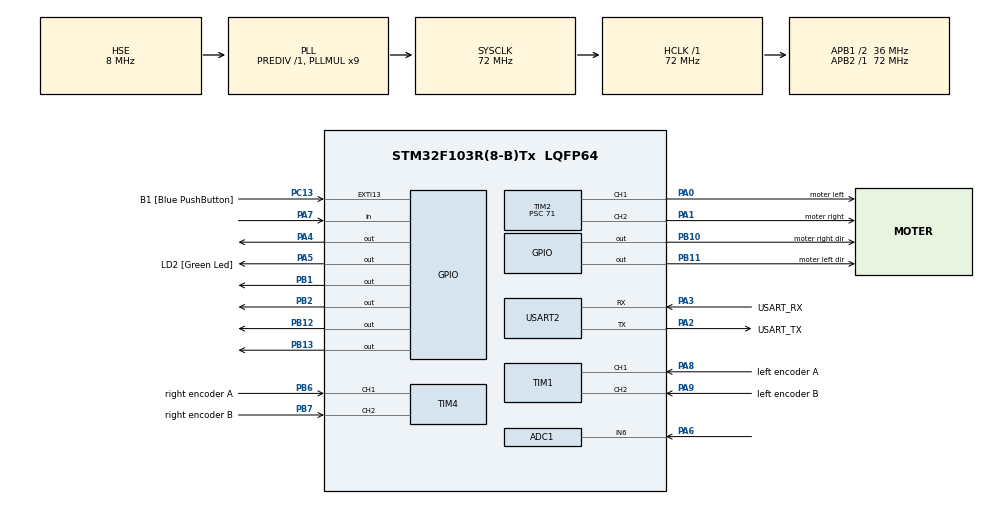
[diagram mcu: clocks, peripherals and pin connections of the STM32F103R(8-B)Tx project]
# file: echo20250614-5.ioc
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ADC1.Channel-5\#ChannelRegularConversion=ADC_CHANNEL_6
ADC1.ContinuousConvMode=ENABLE
ADC1.ExternalTrigConv=ADC_EXTERNALTRIGCONV_T3_TRGO
ADC1.NbrOfConversionFlag=1
ADC1.Rank-5\#ChannelRegularConversion=1
ADC1.SamplingTime-5\#ChannelRegularConversion=ADC_SAMPLETIME_239CYCLES_5
ADC1.master=1
Mcu.Family=STM32F1
Mcu.Name=STM32F103R(8-B)Tx
Mcu.Package=LQFP64
NVIC.ADC1_2_IRQn=true\:0\:0\:false\:false\:true\:true\:true\:true
NVIC.EXTI15_10_IRQn=true\:0\:0\:false\:false\:true\:true\:true\:true
NVIC.PriorityGroup=NVIC_PRIORITYGROUP_4
NVIC.TIM2_IRQn=true\:0\:0\:false\:false\:true\:true\:true\:true
NVIC.TIM3_IRQn=true\:0\:0\:false\:false\:true\:true\:true\:true
NVIC.USART2_IRQn=true\:0\:0\:false\:false\:true\:true\:true\:true
PA0-WKUP.GPIO_Label=moter left
PA0-WKUP.Signal=S_TIM2_CH1_ETR
PA1.GPIO_Label=moter right
PA1.Signal=S_TIM2_CH2
PA13.Mode=JTAG_5_pins
PA13.Signal=SYS_JTMS-SWDIO
PA14.Mode=JTAG_5_pins
PA14.Signal=SYS_JTCK-SWCLK
PA15.Mode=JTAG_5_pins
PA15.Signal=SYS_JTDI
PA2.GPIO_Label=USART_TX
PA2.GPIO_Mode=GPIO_MODE_AF_PP
PA2.GPIO_PuPd=GPIO_NOPULL
PA2.GPIO_Speed=GPIO_SPEED_FREQ_LOW
PA2.Mode=Asynchronous
PA2.Signal=USART2_TX
PA3.GPIO_Label=USART_RX
PA3.GPIO_Mode=GPIO_MODE_AF_PP
PA3.GPIO_PuPd=GPIO_NOPULL
PA3.GPIO_Speed=GPIO_SPEED_FREQ_LOW
PA3.Mode=Asynchronous
PA3.Signal=USART2_RX
PA4.Signal=GPIO_Output
PA5.GPIO_Label=LD2 [Green Led]
PA5.GPIO_ModeDefaultOutputPP=GPIO_MODE_OUTPUT_PP
PA5.GPIO_PuPd=GPIO_NOPULL
PA5.GPIO_Speed=GPIO_SPEED_FREQ_LOW
PA5.Signal=GPIO_Output
PA6.Signal=ADCx_IN6
PA7.Signal=GPIO_Input
PA8.GPIO_Label=left encoder A
PA8.Signal=S_TIM1_CH1
PA9.GPIO_Label=left encoder B
PA9.Signal=S_TIM1_CH2
PB1.Signal=GPIO_Output
PB10.GPIO_Label=moter right dir
PB10.Signal=GPIO_Output
PB11.GPIO_Label=moter left dir
PB11.Signal=GPIO_Output
PB12.Signal=GPIO_Output
PB13.Signal=GPIO_Output
PB2.Signal=GPIO_Output
PB3.Mode=JTAG_5_pins
PB3.Signal=SYS_JTDO-TRACESWO
PB4.Mode=JTAG_5_pins
PB4.Signal=SYS_NJTRST
PB6.GPIO_Label=right encoder A
PB6.Signal=S_TIM4_CH1
PB7.GPIO_Label=right encoder B
PB7.Signal=S_TIM4_CH2
PC13-TAMPER-RTC.GPIO_Label=B1 [Blue PushButton]
PC13-TAMPER-RTC.GPIO_PuPd=GPIO_NOPULL
PC13-TAMPER-RTC.Signal=GPXTI13
PC14-OSC32_IN.Mode=LSE-External-Oscillator
PC14-OSC32_IN.Signal=RCC_OSC32_IN
PC15-OSC32_OUT.Mode=LSE-External-Oscillator
PC15-OSC32_OUT.Signal=RCC_OSC32_OUT
PD0-OSC_IN.Mode=HSE-External-Clock-Source
PD0-OSC_IN.Signal=RCC_OSC_IN
PD1-OSC_OUT.Mode=HSE-External-Clock-Source
PD1-OSC_OUT.Signal=RCC_OSC_OUT
ProjectManager.HeapSize=0x200
ProjectManager.StackSize=0x400
ProjectManager.TargetToolchain=STM32CubeIDE
RCC.ADCPresc=RCC_ADCPCLK2_DIV6
RCC.AHBFreq_Value=72000000
RCC.APB1CLKDivider=RCC_HCLK_DIV2
RCC.APB1Freq_Value=36000000
RCC.APB1TimFreq_Value=72000000
RCC.APB2Freq_Value=72000000
RCC.APB2TimFreq_Value=72000000
RCC.HCLKFreq_Value=72000000
RCC.PLLMUL=RCC_PLL_MUL9
RCC.PLLSourceVirtual=RCC_PLLSOURCE_HSE
RCC.RTCClockSelection=RCC_RTCCLKSOURCE_LSE
RCC.SYSCLKFreq_VALUE=72000000
RCC.SYSCLKSource=RCC_SYSCLKSOURCE_PLLCLK
RCC.USBFreq_Value=72000000
SH.ADCx_IN6.0=ADC1_IN6,IN6
SH.S_TIM1_CH1.0=TIM1_CH1,Encoder_Interface
SH.S_TIM1_CH2.0=TIM1_CH2,Encoder_Interface
SH.S_TIM2_CH1_ETR.0=TIM2_CH1,PWM Generation1 CH1
SH.S_TIM2_CH2.0=TIM2_CH2,PWM Generation2 CH2
SH.S_TIM4_CH1.0=TIM4_CH1,Encoder_Interface
SH.S_TIM4_CH2.0=TIM4_CH2,Encoder_Interface
TIM1.EncoderMode=TIM_ENCODERMODE_TI12
TIM2.Channel-PWM\ Generation1\ CH1=TIM_CHANNEL_1
TIM2.Channel-PWM\ Generation2\ CH2=TIM_CHANNEL_2
TIM2.Period=49
TIM2.Prescaler=71
TIM3.Period=499
TIM3.Prescaler=7199
TIM4.EncoderMode=TIM_ENCODERMODE_TI12
USART2.VirtualMode=VM_ASYNC
VP_TIM3_VS_ClockSourceINT.Mode=Internal
board=NUCLEO-F103RB

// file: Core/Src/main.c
/* USER CODE BEGIN Header */
/**
  ******************************************************************************
  * @file           : main.c
  * @brief          : Main program body
  ******************************************************************************
  * @attention
  *
  * Copyright (c) 2025 STMicroelectronics.
  * All rights reserved.
  *
  * This software is licensed under terms that can be found in the LICENSE file
  * in the root directory of this software component.
  * If no LICENSE file comes with this software, it is provided AS-IS.
  *
  ******************************************************************************
  */
/* USER CODE END Header */
#include "main.h"
#include "motor.h"
#include "encoder.h"
#include "uart.h"
#include "uart_printf.h"

/* USER CODE BEGIN PD */

#define IR_THRESHOLD 4000
#define PPR 32700
/* USER CODE END PD */

ADC_HandleTypeDef hadc1;

TIM_HandleTypeDef htim1;
TIM_HandleTypeDef htim2;
TIM_HandleTypeDef htim3;
TIM_HandleTypeDef htim4;

void SystemClock_Config(void);
static void MX_GPIO_Init(void);
static void MX_USART2_UART_Init(void);
static void MX_TIM2_Init(void);
static void MX_ADC1_Init(void);
static void MX_TIM3_Init(void);
static void MX_TIM4_Init(void);
static void MX_TIM1_Init(void);

/* USER CODE BEGIN 0 */

//적외선 센서 감지 인터럽트
void HAL_ADC_ConvCpltCallback(ADC_HandleTypeDef* hadc)
{
    if(hadc->Instance == ADC1)
    {
        uint32_t adc_value = HAL_ADC_GetValue(hadc);
        if(adc_value < IR_THRESHOLD){
        	Motor_StopAll();
        }
    }
}

// TIM4,1 인터럽트 핸들러
void TIM4_IRQHandler(void)
{
    HAL_TIM_IRQHandler(&htim4);
}

void TIM1_IRQHandler(void)
{
    HAL_TIM_IRQHandler(&htim1);
}
// HAL 콜백 함수 (Update Event 등 처리)
void HAL_TIM_PeriodElapsedCallback(TIM_HandleTypeDef *htim)
{
	if(htim->Instance == TIM3)  // TIM3 = 1ms 주기 타이머
		{
			Motor_UpdateAllPWM();   // 모터 점진 제어
			Encoder_Update(&encoder1);
	        Encoder_Update(&encoder4);
	        Encoder_SendTotalCount();
	}
}

/* USER CODE END 0 */

int main(void)
{

  /* MCU Configuration--------------------------------------------------------*/

  /* Reset of all peripherals, Initializes the Flash interface and the Systick. */
  HAL_Init();

  /* Configure the system clock */
  SystemClock_Config();

  /* Initialize all configured peripherals */
  MX_GPIO_Init();
  MX_USART2_UART_Init();
  MX_TIM2_Init();
  MX_ADC1_Init();
  MX_TIM3_Init();
  MX_TIM4_Init();
  MX_TIM1_Init();
  /* USER CODE BEGIN 2 */
  // 왼쪽, 오른쪽 모터 PWM 채널 시작
  HAL_TIM_PWM_Start(&htim2, TIM_CHANNEL_1);  // Left Motor PWM
  HAL_TIM_PWM_Start(&htim2, TIM_CHANNEL_2);  // Right Motor PWM
  HAL_TIM_Encoder_Start(&htim1, TIM_CHANNEL_ALL);
  HAL_TIM_Encoder_Start(&htim4, TIM_CHANNEL_ALL);

  // UART 수신 인터럽트 시작 (1바이트씩 수신)
  HAL_UART_Receive_IT(&huart2, &rx_data, 1); // UART Receive 1 byte
  HAL_ADC_Start_IT(&hadc1);
  // TIM3 시작 필요
  HAL_TIM_Base_Start_IT(&htim3); // 인터럽트 모드로 시작

  // 초기 PWM 값을 0으로 설정
  __HAL_TIM_SET_COMPARE(&htim2, TIM_CHANNEL_1, 0);
  __HAL_TIM_SET_COMPARE(&htim2, TIM_CHANNEL_2, 0);

  /* USER CODE END 2 */

  /* Infinite loop */
  while (1)
  {

  }
}

void SystemClock_Config(void)
{
  RCC_OscInitTypeDef RCC_OscInitStruct = {0};
  RCC_ClkInitTypeDef RCC_ClkInitStruct = {0};
  RCC_PeriphCLKInitTypeDef PeriphClkInit = {0};

  /** Initializes the RCC Oscillators according to the specified parameters
  * in the RCC_OscInitTypeDef structure.
  */
  RCC_OscInitStruct.OscillatorType = RCC_OSCILLATORTYPE_HSE;
  RCC_OscInitStruct.HSEState = RCC_HSE_BYPASS;
  RCC_OscInitStruct.HSEPredivValue = RCC_HSE_PREDIV_DIV1;
  RCC_OscInitStruct.HSIState = RCC_HSI_ON;
  RCC_OscInitStruct.PLL.PLLState = RCC_PLL_ON;
  RCC_OscInitStruct.PLL.PLLSource = RCC_PLLSOURCE_HSE;
  RCC_OscInitStruct.PLL.PLLMUL = RCC_PLL_MUL9;
  if (HAL_RCC_OscConfig(&RCC_OscInitStruct) != HAL_OK)
  {
    Error_Handler();
  }

  /** Initializes the CPU, AHB and APB buses clocks
  */
  RCC_ClkInitStruct.ClockType = RCC_CLOCKTYPE_HCLK|RCC_CLOCKTYPE_SYSCLK
                              |RCC_CLOCKTYPE_PCLK1|RCC_CLOCKTYPE_PCLK2;
  RCC_ClkInitStruct.SYSCLKSource = RCC_SYSCLKSOURCE_PLLCLK;
  RCC_ClkInitStruct.AHBCLKDivider = RCC_SYSCLK_DIV1;
  RCC_ClkInitStruct.APB1CLKDivider = RCC_HCLK_DIV2;
  RCC_ClkInitStruct.APB2CLKDivider = RCC_HCLK_DIV1;

  if (HAL_RCC_ClockConfig(&RCC_ClkInitStruct, FLASH_LATENCY_2) != HAL_OK)
  {
    Error_Handler();
  }
  PeriphClkInit.PeriphClockSelection = RCC_PERIPHCLK_ADC;
  PeriphClkInit.AdcClockSelection = RCC_ADCPCLK2_DIV6;
  if (HAL_RCCEx_PeriphCLKConfig(&PeriphClkInit) != HAL_OK)
  {
    Error_Handler();
  }
}

static void MX_ADC1_Init(void)
{

  ADC_ChannelConfTypeDef sConfig = {0};

  /** Common config
  */
  hadc1.Instance = ADC1;
  hadc1.Init.ScanConvMode = ADC_SCAN_DISABLE;
  hadc1.Init.ContinuousConvMode = ENABLE;
  hadc1.Init.DiscontinuousConvMode = DISABLE;
  hadc1.Init.ExternalTrigConv = ADC_EXTERNALTRIGCONV_T3_TRGO;
  hadc1.Init.DataAlign = ADC_DATAALIGN_RIGHT;
  hadc1.Init.NbrOfConversion = 1;
  if (HAL_ADC_Init(&hadc1) != HAL_OK)
  {
    Error_Handler();
  }

  /** Configure Regular Channel
  */
  sConfig.Channel = ADC_CHANNEL_6;
  sConfig.Rank = ADC_REGULAR_RANK_1;
  sConfig.SamplingTime = ADC_SAMPLETIME_239CYCLES_5;
  if (HAL_ADC_ConfigChannel(&hadc1, &sConfig) != HAL_OK)
  {
    Error_Handler();
  }

}

static void MX_TIM1_Init(void)
{

  TIM_Encoder_InitTypeDef sConfig = {0};
  TIM_MasterConfigTypeDef sMasterConfig = {0};

  htim1.Instance = TIM1;
  htim1.Init.Prescaler = 0;
  htim1.Init.CounterMode = TIM_COUNTERMODE_UP;
  htim1.Init.Period = 65535;
  htim1.Init.ClockDivision = TIM_CLOCKDIVISION_DIV1;
  htim1.Init.RepetitionCounter = 0;
  htim1.Init.AutoReloadPreload = TIM_AUTORELOAD_PRELOAD_DISABLE;
  sConfig.EncoderMode = TIM_ENCODERMODE_TI12;
  sConfig.IC1Polarity = TIM_ICPOLARITY_RISING;
  sConfig.IC1Selection = TIM_ICSELECTION_DIRECTTI;
  sConfig.IC1Prescaler = TIM_ICPSC_DIV1;
  sConfig.IC1Filter = 0;
  sConfig.IC2Polarity = TIM_ICPOLARITY_RISING;
  sConfig.IC2Selection = TIM_ICSELECTION_DIRECTTI;
  sConfig.IC2Prescaler = TIM_ICPSC_DIV1;
  sConfig.IC2Filter = 0;
  if (HAL_TIM_Encoder_Init(&htim1, &sConfig) != HAL_OK)
  {
    Error_Handler();
  }
  sMasterConfig.MasterOutputTrigger = TIM_TRGO_RESET;
  sMasterConfig.MasterSlaveMode = TIM_MASTERSLAVEMODE_DISABLE;
  if (HAL_TIMEx_MasterConfigSynchronization(&htim1, &sMasterConfig) != HAL_OK)
  {
    Error_Handler();
  }

}

static void MX_TIM2_Init(void)
{

  TIM_MasterConfigTypeDef sMasterConfig = {0};
  TIM_OC_InitTypeDef sConfigOC = {0};

  htim2.Instance = TIM2;
  htim2.Init.Prescaler = 71;
  htim2.Init.CounterMode = TIM_COUNTERMODE_UP;
  htim2.Init.Period = 49;
  htim2.Init.ClockDivision = TIM_CLOCKDIVISION_DIV1;
  htim2.Init.AutoReloadPreload = TIM_AUTORELOAD_PRELOAD_DISABLE;
  if (HAL_TIM_PWM_Init(&htim2) != HAL_OK)
  {
    Error_Handler();
  }
  sMasterConfig.MasterOutputTrigger = TIM_TRGO_RESET;
  sMasterConfig.MasterSlaveMode = TIM_MASTERSLAVEMODE_DISABLE;
  if (HAL_TIMEx_MasterConfigSynchronization(&htim2, &sMasterConfig) != HAL_OK)
  {
    Error_Handler();
  }
  sConfigOC.OCMode = TIM_OCMODE_PWM1;
  sConfigOC.Pulse = 0;
  sConfigOC.OCPolarity = TIM_OCPOLARITY_HIGH;
  sConfigOC.OCFastMode = TIM_OCFAST_DISABLE;
  if (HAL_TIM_PWM_ConfigChannel(&htim2, &sConfigOC, TIM_CHANNEL_1) != HAL_OK)
  {
    Error_Handler();
  }
  if (HAL_TIM_PWM_ConfigChannel(&htim2, &sConfigOC, TIM_CHANNEL_2) != HAL_OK)
  {
    Error_Handler();
  }
  HAL_TIM_MspPostInit(&htim2);

}

static void MX_TIM3_Init(void)
{

  TIM_ClockConfigTypeDef sClockSourceConfig = {0};
  TIM_MasterConfigTypeDef sMasterConfig = {0};

  htim3.Instance = TIM3;
  htim3.Init.Prescaler = 7199;
  htim3.Init.CounterMode = TIM_COUNTERMODE_UP;
  htim3.Init.Period = 499;
  htim3.Init.ClockDivision = TIM_CLOCKDIVISION_DIV1;
  htim3.Init.AutoReloadPreload = TIM_AUTORELOAD_PRELOAD_DISABLE;
  if (HAL_TIM_Base_Init(&htim3) != HAL_OK)
  {
    Error_Handler();
  }
  sClockSourceConfig.ClockSource = TIM_CLOCKSOURCE_INTERNAL;
  if (HAL_TIM_ConfigClockSource(&htim3, &sClockSourceConfig) != HAL_OK)
  {
    Error_Handler();
  }
  sMasterConfig.MasterOutputTrigger = TIM_TRGO_RESET;
  sMasterConfig.MasterSlaveMode = TIM_MASTERSLAVEMODE_DISABLE;
  if (HAL_TIMEx_MasterConfigSynchronization(&htim3, &sMasterConfig) != HAL_OK)
  {
    Error_Handler();
  }

}

static void MX_TIM4_Init(void)
{

  TIM_Encoder_InitTypeDef sConfig = {0};
  TIM_MasterConfigTypeDef sMasterConfig = {0};

  htim4.Instance = TIM4;
  htim4.Init.Prescaler = 0;
  htim4.Init.CounterMode = TIM_COUNTERMODE_UP;
  htim4.Init.Period = 65535;
  htim4.Init.ClockDivision = TIM_CLOCKDIVISION_DIV1;
  htim4.Init.AutoReloadPreload = TIM_AUTORELOAD_PRELOAD_DISABLE;
  sConfig.EncoderMode = TIM_ENCODERMODE_TI12;
  sConfig.IC1Polarity = TIM_ICPOLARITY_RISING;
  sConfig.IC1Selection = TIM_ICSELECTION_DIRECTTI;
  sConfig.IC1Prescaler = TIM_ICPSC_DIV1;
  sConfig.IC1Filter = 0;
  sConfig.IC2Polarity = TIM_ICPOLARITY_RISING;
  sConfig.IC2Selection = TIM_ICSELECTION_DIRECTTI;
  sConfig.IC2Prescaler = TIM_ICPSC_DIV1;
  sConfig.IC2Filter = 0;
  if (HAL_TIM_Encoder_Init(&htim4, &sConfig) != HAL_OK)
  {
    Error_Handler();
  }
  sMasterConfig.MasterOutputTrigger = TIM_TRGO_RESET;
  sMasterConfig.MasterSlaveMode = TIM_MASTERSLAVEMODE_DISABLE;
  if (HAL_TIMEx_MasterConfigSynchronization(&htim4, &sMasterConfig) != HAL_OK)
  {
    Error_Handler();
  }

}

static void MX_USART2_UART_Init(void)
{

  huart2.Instance = USART2;
  huart2.Init.BaudRate = 115200;
  huart2.Init.WordLength = UART_WORDLENGTH_8B;
  huart2.Init.StopBits = UART_STOPBITS_1;
  huart2.Init.Parity = UART_PARITY_NONE;
  huart2.Init.Mode = UART_MODE_TX_RX;
  huart2.Init.HwFlowCtl = UART_HWCONTROL_NONE;
  huart2.Init.OverSampling = UART_OVERSAMPLING_16;
  if (HAL_UART_Init(&huart2) != HAL_OK)
  {
    Error_Handler();
  }

}

static void MX_GPIO_Init(void)
{
  GPIO_InitTypeDef GPIO_InitStruct = {0};

  /* GPIO Ports Clock Enable */
  __HAL_RCC_GPIOC_CLK_ENABLE();
  __HAL_RCC_GPIOD_CLK_ENABLE();
  __HAL_RCC_GPIOA_CLK_ENABLE();
  __HAL_RCC_GPIOB_CLK_ENABLE();

  /*Configure GPIO pin Output Level */
  HAL_GPIO_WritePin(GPIOA, GPIO_PIN_4|LD2_Pin, GPIO_PIN_RESET);

  /*Configure GPIO pin Output Level */
  HAL_GPIO_WritePin(GPIOB, GPIO_PIN_1|GPIO_PIN_2|moter_right_dir_Pin|moter_left_dir_Pin
                          |GPIO_PIN_12|GPIO_PIN_13, GPIO_PIN_RESET);

  /*Configure GPIO pin : B1_Pin */
  GPIO_InitStruct.Pin = B1_Pin;
  GPIO_InitStruct.Mode = GPIO_MODE_IT_RISING;
  GPIO_InitStruct.Pull = GPIO_NOPULL;
  HAL_GPIO_Init(B1_GPIO_Port, &GPIO_InitStruct);

  /*Configure GPIO pins : PA4 LD2_Pin */
  GPIO_InitStruct.Pin = GPIO_PIN_4|LD2_Pin;
  GPIO_InitStruct.Mode = GPIO_MODE_OUTPUT_PP;
  GPIO_InitStruct.Pull = GPIO_NOPULL;
  GPIO_InitStruct.Speed = GPIO_SPEED_FREQ_LOW;
  HAL_GPIO_Init(GPIOA, &GPIO_InitStruct);

  /*Configure GPIO pin : PA7 */
  GPIO_InitStruct.Pin = GPIO_PIN_7;
  GPIO_InitStruct.Mode = GPIO_MODE_INPUT;
  GPIO_InitStruct.Pull = GPIO_NOPULL;
  HAL_GPIO_Init(GPIOA, &GPIO_InitStruct);

  /*Configure GPIO pins : PB1 PB2 moter_right_dir_Pin moter_left_dir_Pin
                           PB12 PB13 */
  GPIO_InitStruct.Pin = GPIO_PIN_1|GPIO_PIN_2|moter_right_dir_Pin|moter_left_dir_Pin
                          |GPIO_PIN_12|GPIO_PIN_13;
  GPIO_InitStruct.Mode = GPIO_MODE_OUTPUT_PP;
  GPIO_InitStruct.Pull = GPIO_NOPULL;
  GPIO_InitStruct.Speed = GPIO_SPEED_FREQ_LOW;
  HAL_GPIO_Init(GPIOB, &GPIO_InitStruct);

  /* EXTI interrupt init*/
  HAL_NVIC_SetPriority(EXTI15_10_IRQn, 0, 0);
  HAL_NVIC_EnableIRQ(EXTI15_10_IRQn);

}

void Error_Handler(void)
{
  __disable_irq();
  while (1)
  {
  }
}
